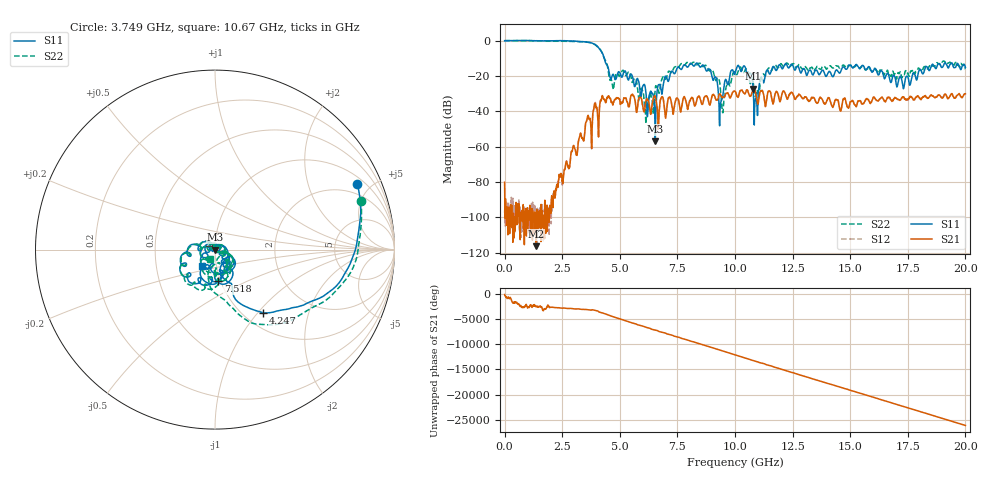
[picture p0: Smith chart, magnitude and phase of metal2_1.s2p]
#  HZ  S  RI  R  50.00
! Rohde & Schwarz Vector Network Analyzer
! Rohde-Schwarz,ZNB20-2Port,1311601062102128,3.60
! Created: UTC 4/29/2024, 3:56:02 PM
! freq[Hz]  re:S11  im:S11  re:S21  im:S21  re:S12  im:S12  re:S22  im:S22
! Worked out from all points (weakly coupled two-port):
!   2007 points, 100 kHz to 20 GHz, reference 50 ohm
!   highest |S21| = -27.26 dB at 10.8 GHz (marker M1); lowest = -116.3 dB at 1.366 GHz (marker M2)
!   lowest |S11| = -56.9 dB at 6.54 GHz (marker M3), VSWR 1.00, Z = 50.1 + j0.00281 ohm
!   |S11| at or under -10 dB: 4.327 GHz to end of sweep
!   |S22| runs from -47.0 to 0.1 dB; largest |S21 - S12| = 0.0023
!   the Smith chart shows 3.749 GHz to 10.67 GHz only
!   S11 on the Smith chart (normalised r, x): 3.749 GHz: 1.36, +4.16; 4.247 GHz: 1.22, -1.06; 7.518 GHz: 0.97, -0.35; 10.67 GHz: 0.85, -0.16
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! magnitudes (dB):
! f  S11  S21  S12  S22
! 100 kHz  0.0  -80.2  -97.4  0.1
! 1.366 GHz  0.0  -116.3  -100.8  -0.1
! 2.483 GHz  0.0  -77.8  -78.7  -0.3
! 3.34 GHz  -0.6  -54.6  -54.3  -0.6
! 3.749 GHz  -1.2  -49.8  -49.9  -1.3
! 4.247 GHz  -7.1  -31.4  -31.1  -7.5
! 4.656 GHz  -20.2  -34.7  -34.7  -23.1
! 5.394 GHz  -21.9  -37.4  -37.4  -17.7
! 6.142 GHz  -30.4  -34.0  -34.0  -44.8
! 6.54 GHz  -56.9  -31.6  -31.6  -27.0
! 6.67 GHz  -25.1  -50.2  -50.0  -27.8
! 7.518 GHz  -15.0  -32.8  -32.9  -15.4
! 8.883 GHz  -16.1  -36.1  -36.2  -17.1
! 9.382 GHz  -34.9  -31.1  -31.1  -29.0
! 10 GHz  -18.8  -28.7  -28.7  -17.7
! 10.67 GHz  -18.5  -31.3  -31.3  -24.4
! 10.8 GHz  -29.9  -27.3  -27.3  -24.3
! 10.91 GHz  -32.6  -30.2  -30.3  -30.8
! 11.67 GHz  -14.6  -35.3  -35.3  -14.9
! 13.34 GHz  -18.7  -32.0  -32.1  -15.0
! 16.67 GHz  -19.3  -32.1  -32.1  -19.3
! 20 GHz  -15.1  -30.1  -30.1  -15.1
